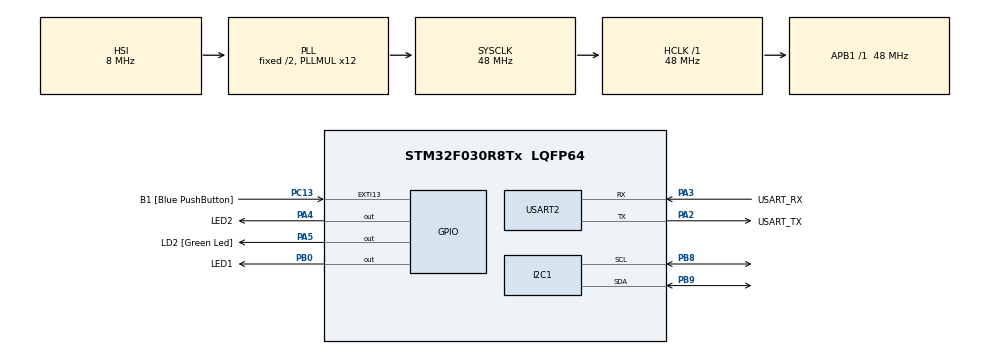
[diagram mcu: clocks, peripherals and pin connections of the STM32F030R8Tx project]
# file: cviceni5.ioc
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Dma.Request0=USART2_RX
Dma.USART2_RX.0.Direction=DMA_PERIPH_TO_MEMORY
Dma.USART2_RX.0.Instance=DMA1_Channel5
Dma.USART2_RX.0.MemDataAlignment=DMA_MDATAALIGN_BYTE
Dma.USART2_RX.0.MemInc=DMA_MINC_ENABLE
Dma.USART2_RX.0.Mode=DMA_CIRCULAR
Dma.USART2_RX.0.PeriphDataAlignment=DMA_PDATAALIGN_BYTE
Dma.USART2_RX.0.PeriphInc=DMA_PINC_DISABLE
Dma.USART2_RX.0.Priority=DMA_PRIORITY_LOW
Mcu.Family=STM32F0
Mcu.Name=STM32F030R8Tx
Mcu.Package=LQFP64
NVIC.DMA1_Channel4_5_IRQn=true\:0\:0\:false\:false\:true\:false\:true\:true
PA13.GPIO_Label=TMS
PA13.Mode=Serial_Wire
PA13.Signal=SYS_SWDIO
PA14.GPIO_Label=TCK
PA14.Mode=Serial_Wire
PA14.Signal=SYS_SWCLK
PA2.GPIO_Label=USART_TX
PA2.GPIO_Mode=GPIO_MODE_AF_PP
PA2.GPIO_PuPd=GPIO_NOPULL
PA2.GPIO_Speed=GPIO_SPEED_FREQ_LOW
PA2.Mode=Asynchronous
PA2.Signal=USART2_TX
PA3.GPIO_Label=USART_RX
PA3.GPIO_Mode=GPIO_MODE_AF_PP
PA3.GPIO_PuPd=GPIO_NOPULL
PA3.GPIO_Speed=GPIO_SPEED_FREQ_LOW
PA3.Mode=Asynchronous
PA3.Signal=USART2_RX
PA4.GPIO_Label=LED2
PA4.GPIO_PuPd=GPIO_PULLUP
PA4.Signal=GPIO_Output
PA5.GPIO_Label=LD2 [Green Led]
PA5.GPIO_Mode=GPIO_MODE_OUTPUT_PP
PA5.GPIO_PuPd=GPIO_NOPULL
PA5.GPIO_Speed=GPIO_SPEED_FREQ_LOW
PA5.Signal=GPIO_Output
PB0.GPIO_Label=LED1
PB0.GPIO_PuPd=GPIO_PULLUP
PB0.Signal=GPIO_Output
PB8.Mode=I2C
PB8.Signal=I2C1_SCL
PB9.Mode=I2C
PB9.Signal=I2C1_SDA
PC13.GPIO_Label=B1 [Blue PushButton]
PC13.GPIO_ModeDefaultEXTI=GPIO_MODE_IT_FALLING
PC13.Signal=GPXTI13
PC14-OSC32_IN.Mode=LSE-External-Oscillator
PC14-OSC32_IN.Signal=RCC_OSC32_IN
PC15-OSC32_OUT.Mode=LSE-External-Oscillator
PC15-OSC32_OUT.Signal=RCC_OSC32_OUT
PF0-OSC_IN.Mode=HSE-External-Clock-Source
PF0-OSC_IN.Signal=RCC_OSC_IN
PF1-OSC_OUT.Signal=RCC_OSC_OUT
ProjectManager.HeapSize=0x200
ProjectManager.StackSize=0x400
ProjectManager.TargetToolchain=STM32CubeIDE
RCC.AHBFreq_Value=48000000
RCC.APB1Freq_Value=48000000
RCC.APB1TimFreq_Value=48000000
RCC.HCLKFreq_Value=48000000
RCC.PLLMUL=RCC_PLL_MUL12
RCC.SYSCLKFreq_VALUE=48000000
RCC.SYSCLKSource=RCC_SYSCLKSOURCE_PLLCLK
USART2.VirtualMode-Asynchronous=VM_ASYNC
board=NUCLEO-F030R8

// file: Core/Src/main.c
/* USER CODE BEGIN Header */
/**
  ******************************************************************************
  * @file           : main.c
  * @brief          : Main program body
  ******************************************************************************
  * @attention
  *
  * Copyright (c) 2023 STMicroelectronics.
  * All rights reserved.
  *
  * This software is licensed under terms that can be found in the LICENSE file
  * in the root directory of this software component.
  * If no LICENSE file comes with this software, it is provided AS-IS.
  *
  ******************************************************************************
  */
/* USER CODE END Header */
#include "main.h"

/* USER CODE BEGIN Includes */
#include <stdio.h>
#include <string.h>
#include <strings.h>
#include <stdlib.h>
/* USER CODE END Includes */

/* USER CODE BEGIN PD */
#define RX_BUFFER_LEN 64
#define uart_rx_write_ptr (RX_BUFFER_LEN - hdma_usart2_rx.Instance->CNDTR)
#define CMD_BUFFER_LEN 256

#define EEPROM_ADDR 0xA0
/* USER CODE END PD */

I2C_HandleTypeDef hi2c1;

UART_HandleTypeDef huart2;
DMA_HandleTypeDef hdma_usart2_rx;

/* USER CODE BEGIN PV */
static uint8_t uart_rx_buf[RX_BUFFER_LEN];
static volatile uint16_t uart_rx_read_ptr = 0;
/* USER CODE END PV */

void SystemClock_Config(void);
static void MX_GPIO_Init(void);
static void MX_DMA_Init(void);
static void MX_USART2_UART_Init(void);
static void MX_I2C1_Init(void);

/* USER CODE BEGIN 0 */

static void parse(char *cmd)
{
	char* cmds = strtok(cmd, " ");

	if (!strcasecmp(cmds,"LED1"))  {
		cmds = strtok(NULL, " ");
		if (!strcasecmp(cmds, "ON"))  {
			HAL_GPIO_WritePin(LED1_GPIO_Port, LED1_Pin, 1);
			printf("LED1 rozsvicena... \n");
		}
		else if (!strcasecmp(cmds, "OFF"))  {
			HAL_GPIO_WritePin(LED1_GPIO_Port, LED1_Pin, 0);
			printf("LED1 zhasnuta... \n");
		}
	}

	else if (!strcasecmp(cmds, "LED2"))  {
		cmds = strtok(NULL, " ");
		if (!strcasecmp(cmds, "ON"))  {
			HAL_GPIO_WritePin(LED2_GPIO_Port, LED2_Pin, 1);
			printf("LED2 rozsvicena... \n");
		}
		else if (!strcasecmp(cmds, "OFF"))  {
			HAL_GPIO_WritePin(LED2_GPIO_Port, LED2_Pin, 0);
			printf("LED2 zhasnuta... \n");
		}
	}

	else if (!strcasecmp(cmds, "HELLO"))  {
		printf("AHOJ SVETE!\n");
	}
	else if (!strcasecmp(cmds, "STATUS"))  {
		uint8_t led1_stat = HAL_GPIO_ReadPin(LED1_GPIO_Port, LED1_Pin);
		uint8_t led2_stat = HAL_GPIO_ReadPin(LED2_GPIO_Port, LED2_Pin);

		printf("LED1 Status: %i \n", led1_stat);
		printf("LED2 Status: %i \n", led2_stat);
	}

	else if (!strcasecmp(cmds, "READ"))  {
		uint16_t addr = atoi(strtok(NULL, " "));
		uint8_t value;

		HAL_I2C_Mem_Read(&hi2c1, EEPROM_ADDR, addr, I2C_MEMADD_SIZE_16BIT, &value, 1, 1000);
		printf("EEPROM: Na adrese %x je hodnota %x \n", addr, value);
	}

	else if (!strcasecmp(cmds, "WRITE"))  {
		uint16_t addr = atoi(strtok(NULL, " "));
		uint8_t value = atoi(strtok(NULL, " "));

		HAL_I2C_Mem_Write(&hi2c1, EEPROM_ADDR, addr, I2C_MEMADD_SIZE_16BIT, &value, 1, 1000);
		printf("EEPROM: Na adresu %x byla zapsana hodnota %x \n", addr, value);

		while (HAL_I2C_IsDeviceReady(&hi2c1, EEPROM_ADDR, 300, 1000) == HAL_TIMEOUT) {}
	}

	else if (!strcasecmp(cmds, "DUMP"))  {
		uint8_t value;
		for (uint8_t addr = 0; addr < 16; addr++)  {
			HAL_I2C_Mem_Read(&hi2c1, EEPROM_ADDR, addr, I2C_MEMADD_SIZE_16BIT, &value, 1, 1000);
			printf("EEPROM: Na adrese %x je hodnota %x \n", addr, value);
		}
	}
	else {
		printf("prijato: %s \n", cmd);
	}
}

static void uart_process_command(char *cmd)
{
	parse(cmd);
}

int _write(int file, char const *buf, int n)
{
	/* stdout redirection to UART2 */
	HAL_UART_Transmit(&huart2, (uint8_t*)(buf), n, HAL_MAX_DELAY);
	return n;
}

static void uart_byte_available(uint8_t c)
{
	static uint16_t cnt;
	static char data[CMD_BUFFER_LEN];
	if (cnt < CMD_BUFFER_LEN && c >= 32 && c <= 126) data[cnt++] = c;
	if ((c == '\n' || c == '\r') && cnt > 0) {
		data[cnt] = '\0';
		uart_process_command(data);
		cnt = 0;
	}
}
/* USER CODE END 0 */

int main(void)
{

  /* MCU Configuration--------------------------------------------------------*/

  /* Reset of all peripherals, Initializes the Flash interface and the Systick. */
  HAL_Init();

  /* Configure the system clock */
  SystemClock_Config();

  /* Initialize all configured peripherals */
  MX_GPIO_Init();
  MX_DMA_Init();
  MX_USART2_UART_Init();
  MX_I2C1_Init();
  /* USER CODE BEGIN 2 */
  HAL_UART_Receive_DMA(&huart2, uart_rx_buf, RX_BUFFER_LEN);
  /* USER CODE END 2 */

  /* Infinite loop */
  while (1)
  {

    /* USER CODE BEGIN 3 */
	  while (uart_rx_read_ptr != uart_rx_write_ptr)  {
		  uint8_t b = uart_rx_buf[uart_rx_read_ptr];
		  if (++uart_rx_read_ptr >= RX_BUFFER_LEN) uart_rx_read_ptr = 0; // increase read pointer
		  uart_byte_available(b); // process every received byte with the RX state machine
	  }
  }
  /* USER CODE END 3 */
}

void SystemClock_Config(void)
{
  RCC_OscInitTypeDef RCC_OscInitStruct = {0};
  RCC_ClkInitTypeDef RCC_ClkInitStruct = {0};
  RCC_PeriphCLKInitTypeDef PeriphClkInit = {0};

  /** Initializes the RCC Oscillators according to the specified parameters
  * in the RCC_OscInitTypeDef structure.
  */
  RCC_OscInitStruct.OscillatorType = RCC_OSCILLATORTYPE_HSI;
  RCC_OscInitStruct.HSIState = RCC_HSI_ON;
  RCC_OscInitStruct.HSICalibrationValue = RCC_HSICALIBRATION_DEFAULT;
  RCC_OscInitStruct.PLL.PLLState = RCC_PLL_ON;
  RCC_OscInitStruct.PLL.PLLSource = RCC_PLLSOURCE_HSI;
  RCC_OscInitStruct.PLL.PLLMUL = RCC_PLL_MUL12;
  RCC_OscInitStruct.PLL.PREDIV = RCC_PREDIV_DIV1;
  if (HAL_RCC_OscConfig(&RCC_OscInitStruct) != HAL_OK)
  {
    Error_Handler();
  }

  /** Initializes the CPU, AHB and APB buses clocks
  */
  RCC_ClkInitStruct.ClockType = RCC_CLOCKTYPE_HCLK|RCC_CLOCKTYPE_SYSCLK
                              |RCC_CLOCKTYPE_PCLK1;
  RCC_ClkInitStruct.SYSCLKSource = RCC_SYSCLKSOURCE_PLLCLK;
  RCC_ClkInitStruct.AHBCLKDivider = RCC_SYSCLK_DIV1;
  RCC_ClkInitStruct.APB1CLKDivider = RCC_HCLK_DIV1;

  if (HAL_RCC_ClockConfig(&RCC_ClkInitStruct, FLASH_LATENCY_1) != HAL_OK)
  {
    Error_Handler();
  }
  PeriphClkInit.PeriphClockSelection = RCC_PERIPHCLK_I2C1;
  PeriphClkInit.I2c1ClockSelection = RCC_I2C1CLKSOURCE_HSI;
  if (HAL_RCCEx_PeriphCLKConfig(&PeriphClkInit) != HAL_OK)
  {
    Error_Handler();
  }
}

static void MX_I2C1_Init(void)
{

  hi2c1.Instance = I2C1;
  hi2c1.Init.Timing = 0x2000090E;
  hi2c1.Init.OwnAddress1 = 0;
  hi2c1.Init.AddressingMode = I2C_ADDRESSINGMODE_7BIT;
  hi2c1.Init.DualAddressMode = I2C_DUALADDRESS_DISABLE;
  hi2c1.Init.OwnAddress2 = 0;
  hi2c1.Init.OwnAddress2Masks = I2C_OA2_NOMASK;
  hi2c1.Init.GeneralCallMode = I2C_GENERALCALL_DISABLE;
  hi2c1.Init.NoStretchMode = I2C_NOSTRETCH_DISABLE;
  if (HAL_I2C_Init(&hi2c1) != HAL_OK)
  {
    Error_Handler();
  }

  /** Configure Analogue filter
  */
  if (HAL_I2CEx_ConfigAnalogFilter(&hi2c1, I2C_ANALOGFILTER_ENABLE) != HAL_OK)
  {
    Error_Handler();
  }

  /** Configure Digital filter
  */
  if (HAL_I2CEx_ConfigDigitalFilter(&hi2c1, 0) != HAL_OK)
  {
    Error_Handler();
  }

}

static void MX_USART2_UART_Init(void)
{

  huart2.Instance = USART2;
  huart2.Init.BaudRate = 38400;
  huart2.Init.WordLength = UART_WORDLENGTH_8B;
  huart2.Init.StopBits = UART_STOPBITS_1;
  huart2.Init.Parity = UART_PARITY_NONE;
  huart2.Init.Mode = UART_MODE_TX_RX;
  huart2.Init.HwFlowCtl = UART_HWCONTROL_NONE;
  huart2.Init.OverSampling = UART_OVERSAMPLING_16;
  huart2.Init.OneBitSampling = UART_ONE_BIT_SAMPLE_DISABLE;
  huart2.AdvancedInit.AdvFeatureInit = UART_ADVFEATURE_NO_INIT;
  if (HAL_UART_Init(&huart2) != HAL_OK)
  {
    Error_Handler();
  }

}

static void MX_DMA_Init(void)
{

  /* DMA controller clock enable */
  __HAL_RCC_DMA1_CLK_ENABLE();

  /* DMA interrupt init */
  /* DMA1_Channel4_5_IRQn interrupt configuration */
  HAL_NVIC_SetPriority(DMA1_Channel4_5_IRQn, 0, 0);
  HAL_NVIC_EnableIRQ(DMA1_Channel4_5_IRQn);

}

static void MX_GPIO_Init(void)
{
  GPIO_InitTypeDef GPIO_InitStruct = {0};

  /* GPIO Ports Clock Enable */
  __HAL_RCC_GPIOC_CLK_ENABLE();
  __HAL_RCC_GPIOF_CLK_ENABLE();
  __HAL_RCC_GPIOA_CLK_ENABLE();
  __HAL_RCC_GPIOB_CLK_ENABLE();

  /*Configure GPIO pin Output Level */
  HAL_GPIO_WritePin(GPIOA, LED2_Pin|LD2_Pin, GPIO_PIN_RESET);

  /*Configure GPIO pin Output Level */
  HAL_GPIO_WritePin(LED1_GPIO_Port, LED1_Pin, GPIO_PIN_RESET);

  /*Configure GPIO pin : B1_Pin */
  GPIO_InitStruct.Pin = B1_Pin;
  GPIO_InitStruct.Mode = GPIO_MODE_IT_FALLING;
  GPIO_InitStruct.Pull = GPIO_NOPULL;
  HAL_GPIO_Init(B1_GPIO_Port, &GPIO_InitStruct);

  /*Configure GPIO pin : LED2_Pin */
  GPIO_InitStruct.Pin = LED2_Pin;
  GPIO_InitStruct.Mode = GPIO_MODE_OUTPUT_PP;
  GPIO_InitStruct.Pull = GPIO_PULLUP;
  GPIO_InitStruct.Speed = GPIO_SPEED_FREQ_LOW;
  HAL_GPIO_Init(LED2_GPIO_Port, &GPIO_InitStruct);

  /*Configure GPIO pin : LD2_Pin */
  GPIO_InitStruct.Pin = LD2_Pin;
  GPIO_InitStruct.Mode = GPIO_MODE_OUTPUT_PP;
  GPIO_InitStruct.Pull = GPIO_NOPULL;
  GPIO_InitStruct.Speed = GPIO_SPEED_FREQ_LOW;
  HAL_GPIO_Init(LD2_GPIO_Port, &GPIO_InitStruct);

  /*Configure GPIO pin : LED1_Pin */
  GPIO_InitStruct.Pin = LED1_Pin;
  GPIO_InitStruct.Mode = GPIO_MODE_OUTPUT_PP;
  GPIO_InitStruct.Pull = GPIO_PULLUP;
  GPIO_InitStruct.Speed = GPIO_SPEED_FREQ_LOW;
  HAL_GPIO_Init(LED1_GPIO_Port, &GPIO_InitStruct);

}

void Error_Handler(void)
{
  __disable_irq();
  while (1)
  {
  }
}
